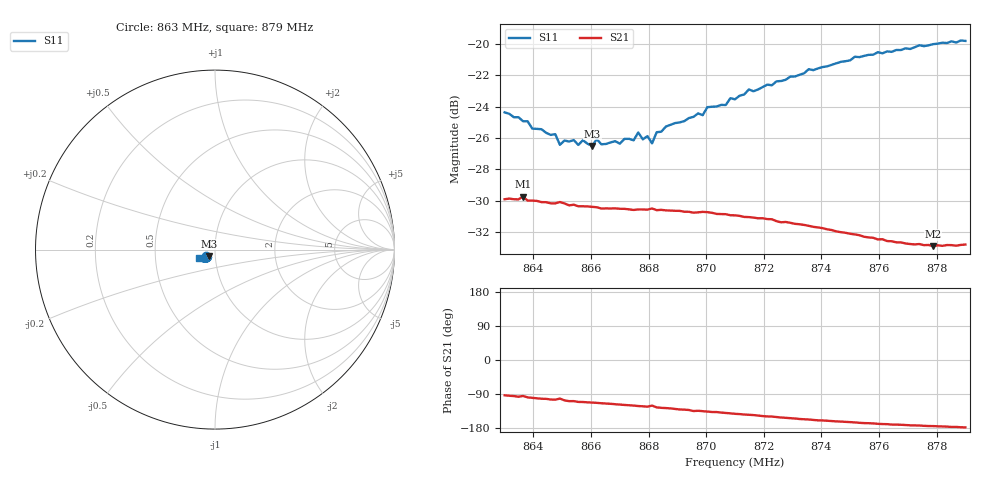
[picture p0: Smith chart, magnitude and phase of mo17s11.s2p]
# HZ S RI R 50
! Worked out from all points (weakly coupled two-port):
!   101 points, 863 MHz to 879 MHz, reference 50 ohm
!   highest |S21| = -29.75 dB at 863.64 MHz (marker M1); lowest = -32.9 dB at 877.88 MHz (marker M2)
!   lowest |S11| = -26.5 dB at 866.04 MHz (marker M3), VSWR 1.10, Z = 46.9 - j3.34 ohm
!   |S11| at or under -10 dB: start of sweep to end of sweep
!   S12 and S22 are empty: the file has one direction only
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8.63e8  -0.0502 -0.0337  -0.00174 -0.0319  0 0  0 0
8.6364e8  -0.0453 -0.0341  -0.00279 -0.0324  0 0  0 0
8.6476e8  -0.0401 -0.0324  -0.00789 -0.03  0 0  0 0
8.6492e8  -0.0355 -0.0318  -0.00639 -0.0306  0 0  0 0
8.6556e8  -0.0335 -0.0338  -0.0107 -0.0284  0 0  0 0
8.6572e8  -0.0333 -0.0363  -0.0108 -0.0283  0 0  0 0
8.6604e8  -0.0311 -0.0356  -0.0115 -0.0279  0 0  0 0
8.662e8  -0.0327 -0.0374  -0.0118 -0.0277  0 0  0 0
8.6636e8  -0.0323 -0.0353  -0.0122 -0.0272  0 0  0 0
8.6748e8  -0.0263 -0.0417  -0.0149 -0.0255  0 0  0 0
8.6764e8  -0.0282 -0.0439  -0.0155 -0.0253  0 0  0 0
8.6812e8  -0.0208 -0.0434  -0.0151 -0.0258  0 0  0 0
8.6828e8  -0.0261 -0.0453  -0.0169 -0.0241  0 0  0 0
8.6844e8  -0.0257 -0.0457  -0.0175 -0.0238  0 0  0 0
8.6988e8  -0.025 -0.0537  -0.0206 -0.0206  0 0  0 0
8.7004e8  -0.029 -0.0557  -0.0209 -0.0201  0 0  0 0
8.71e8  -0.0311 -0.0588  -0.0224 -0.0175  0 0  0 0
8.7148e8  -0.0361 -0.0618  -0.0228 -0.0162  0 0  0 0
8.7372e8  -0.0479 -0.0671  -0.0242 -0.00971  0 0  0 0
8.7644e8  -0.0711 -0.062  -0.0231 -0.00392  0 0  0 0
8.7788e8  -0.0841 -0.0537  -0.0225 -0.00221  0 0  0 0
8.79e8  -0.0916 -0.0453  -0.0229 -0.000836  0 0  0 0
